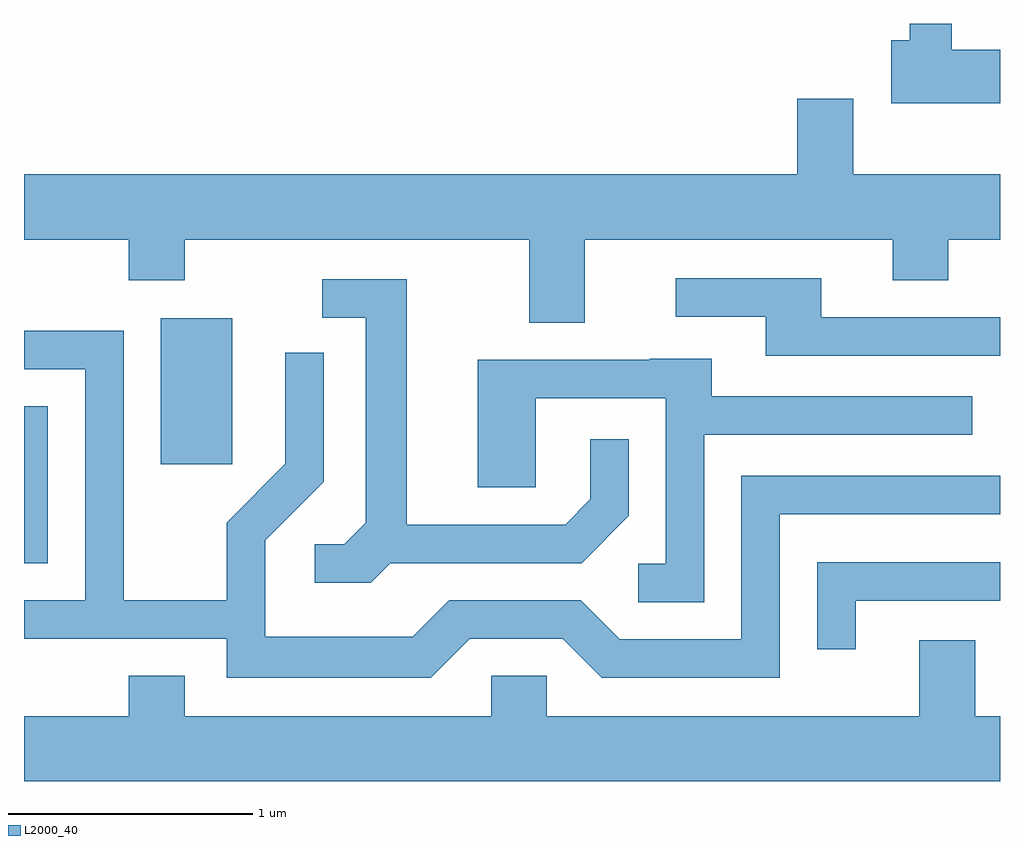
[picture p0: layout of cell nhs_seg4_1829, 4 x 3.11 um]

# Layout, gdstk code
import gdstk
lib = gdstk.Library(unit=1e-6, precision=1e-09)
def R(c, l, rs):  # rectangles x0, y0, x1, y1
    for r in rs: c.add(gdstk.rectangle(r[:2], r[2:], *l))
def P(c, l, *ps):  # polygons
    for p in ps: c.add(gdstk.Polygon(p, *l))
L2000_40 = (2000, 40)

nhs_seg4_1829 = lib.new_cell('nhs_seg4_1829')
R(nhs_seg4_1829, L2000_40, [(237.611,1377.771,237.709,1378.414), (238.171,1378.176,238.464,1378.774)])
P(nhs_seg4_1829, L2000_40, [(241.611,1379.874),(241.414,1379.874),(241.414,1379.982),(241.241,1379.982),(241.241,1379.914),(241.166,1379.914),(241.166,1379.656),(241.611,1379.656)],
  [(239.909,1379.096),(241.171,1379.096),(241.171,1378.931),(241.399,1378.931),(241.399,1379.096),(241.611,1379.096),(241.611,1379.364),(241.009,1379.364),(241.009,1379.674),(240.781,1379.674),(240.781,1379.364),(237.611,1379.364),(237.611,1379.096),(238.041,1379.096),(238.041,1378.931),(238.269,1378.931),(238.269,1379.096),(239.681,1379.096),(239.681,1378.756),(239.909,1378.756)],
  [(241.611,1378.779),(240.879,1378.779),(240.879,1378.939),(240.283,1378.939),(240.283,1378.781),(240.651,1378.781),(240.651,1378.621),(241.611,1378.621)],
  [(239.112,1377.771),(239.897,1377.771),(240.089,1377.964),(240.089,1378.278),(239.931,1378.278),(239.931,1378.032),(239.829,1377.929),(239.179,1377.929),(239.179,1378.934),(238.833,1378.934),(238.833,1378.776),(239.011,1378.776),(239.011,1377.937),(238.924,1377.849),(238.803,1377.849),(238.803,1377.691),(239.032,1377.691)],
  [(239.437,1377.461),(239.819,1377.461),(239.979,1377.301),(240.709,1377.301),(240.709,1377.971),(241.611,1377.971),(241.611,1378.129),(240.551,1378.129),(240.551,1377.459),(240.052,1377.459),(239.892,1377.619),(239.354,1377.619),(239.204,1377.469),(238.599,1377.469),(238.599,1377.864),(238.839,1378.104),(238.839,1378.633),(238.681,1378.633),(238.681,1378.177),(238.441,1377.937),(238.441,1377.619),(238.019,1377.619),(238.019,1378.724),(237.611,1378.724),(237.611,1378.566),(237.861,1378.566),(237.861,1377.619),(237.611,1377.619),(237.611,1377.461),(238.441,1377.461),(238.441,1377.301),(239.277,1377.301)],
  [(240.399,1378.296),(241.498,1378.296),(241.498,1378.454),(240.429,1378.454),(240.429,1378.609),(240.175,1378.609),(240.175,1378.604),(239.471,1378.604),(239.471,1378.081),(239.709,1378.081),(239.709,1378.446),(240.241,1378.446),(240.241,1377.769),(240.128,1377.769),(240.128,1377.611),(240.399,1377.611)],
  [(241.019,1377.616),(241.611,1377.616),(241.611,1377.774),(240.861,1377.774),(240.861,1377.418),(241.019,1377.418)],
  [(241.611,1377.144),(241.509,1377.144),(241.509,1377.454),(241.281,1377.454),(241.281,1377.144),(239.754,1377.144),(239.754,1377.309),(239.526,1377.309),(239.526,1377.144),(238.269,1377.144),(238.269,1377.309),(238.041,1377.309),(238.041,1377.144),(237.611,1377.144),(237.611,1376.876),(241.611,1376.876)])

lib.write_gds('nhs_seg4_1829.gds')
